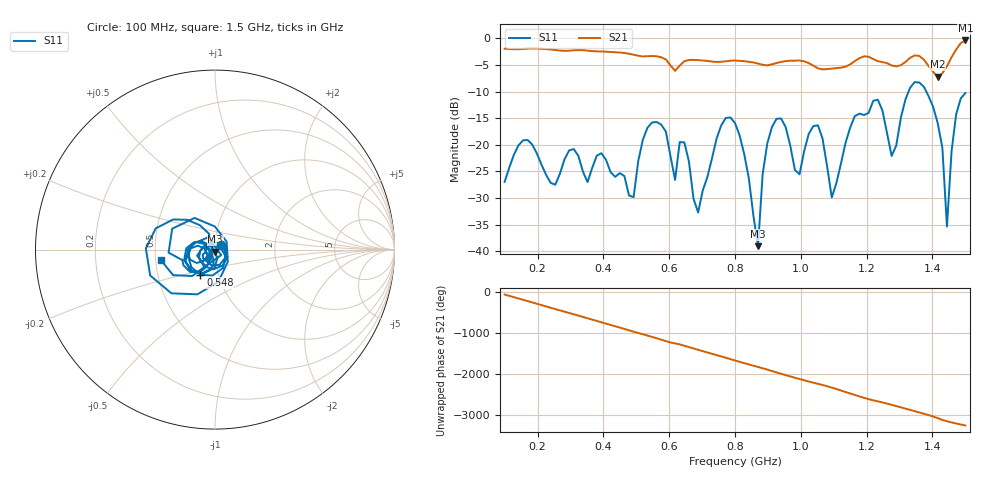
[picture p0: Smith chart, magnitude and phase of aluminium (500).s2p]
! NanoVNA-App
! Date: 2025-09-25 14:59:10
! Start: 100MHz Stop: 1,5GHz Points: 101
! S-Parameter data: F S11 S21 S12 S22
# Hz S RI R 50
!  Frequency  S11_Real  S11_Imag  S21_Real  S21_Imag  S12_Real  S12_Imag  S22_Real  S22_Imag
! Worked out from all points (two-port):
!   101 points, 100 MHz to 1.5 GHz, reference 50 ohm
!   highest |S21| = -0.38 dB at 1.5 GHz (marker M1); lowest = -7.2 dB at 1.416 GHz (marker M2)
!   |S21| within 3 dB of the highest: start of sweep to 519.1 MHz; 522.9 MHz to 564.1 MHz (41.12 MHz wide, 7.57 % of centre) (the widest 2 of 5)
!   lowest |S11| = -39.1 dB at 870 MHz (marker M3), VSWR 1.02, Z = 50.2 - j1.11 ohm
!   |S11| at or under -10 dB: start of sweep to 1.327 GHz; 1.381 GHz to end of sweep
!   S12 and S22 are empty: the file has one direction only
!   S11 on the Smith chart (normalised r, x): 100 MHz: 1.07, +0.06; 548 MHz: 0.82, -0.24; 1.5 GHz: 0.53, -0.07
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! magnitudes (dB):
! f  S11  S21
! 100 MHz  -27.0  -1.9
! 156 MHz  -19.1  -2.0
! 338 MHz  -25.0  -2.2
! 492 MHz  -29.8  -3.1
! 548 MHz  -15.8  -3.3
! 576 MHz  -16.2  -3.5
! 618 MHz  -26.6  -6.1
! 646 MHz  -19.5  -4.3
! 688 MHz  -32.7  -4.1
! 800 MHz  -15.9  -4.2
! 870 MHz  -39.1  -4.7
! 912 MHz  -16.7  -4.9
! 996 MHz  -25.5  -4.1
! 1.038 GHz  -16.5  -5.1
! 1.094 GHz  -29.9  -5.7
! 1.22 GHz  -11.7  -3.9
! 1.276 GHz  -22.1  -5.1
! 1.346 GHz  -8.2  -3.2
! 1.416 GHz  -15.9  -7.2
! 1.444 GHz  -35.4  -5.2
! 1.472 GHz  -14.2  -2.1
! 1.5 GHz  -10.3  -0.4
